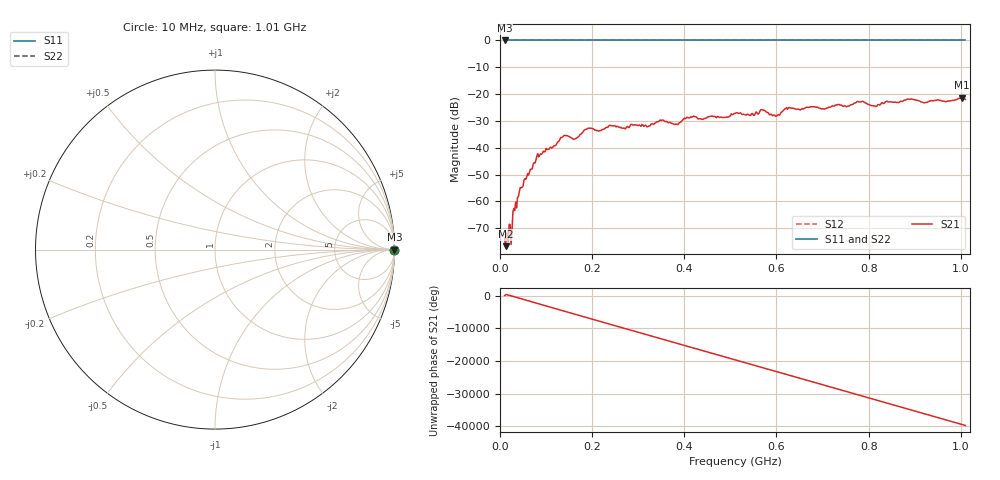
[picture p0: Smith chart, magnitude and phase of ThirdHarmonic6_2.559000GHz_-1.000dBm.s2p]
! 8/17/2025 5:17:03 AM
! C:\ANRITSUVNA\TEMP\TEMP.S2P
! CHANNEL.1
! TR.MEASUREMENT
! RAW.DATA
! RF.CORRECTION.OFF
! AVERAGING.OFF
! IF.BANDWIDTH: 5KHZ
! SWEEPTYPE:  FREQ.SWEEP(Linear)
! Reference Plane Port Info
! PORT:  PORT1  PORT2
! DISTANCE:  0  m  0  m
! TIME:  0  s  0  s
! PHASE.OFFSET:  0  deg.  0  deg.
! LOSS:  0  dB  0  dB
! REF.LOSS:  0  dB  0  dB
! REF.FREQ:  0  Hz  0  Hz
! Power Info
! POWER:  -20  dBm  -20  dBm
! EFF.POWER:  -20  dBm  -20  dBm
! SOURCE.ATTEN:  0  dB  0  dB
! TEST.ATTEN:  0  dB  0  dB
# GHZ S RI R 50.0
! FREQ.GHZ  S11RE  S11IM  S21RE  S21IM  S12RE  S12IM  S22RE  S22IM
!; PortSelection: Port_12
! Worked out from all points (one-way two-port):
!   501 points, 10 MHz to 1.01 GHz, reference 50 ohm
!   highest |S21| = -21.30 dB at 1.002 GHz (marker M1); lowest = -76.7 dB at 12 MHz (marker M2)
!   lowest |S11| = 0.0 dB at 10 MHz (marker M3)
!   |S11| at or under -10 dB: nowhere
!   |S22| runs from 0.0 to 0.0 dB; largest |S21 - S12| = 1.1
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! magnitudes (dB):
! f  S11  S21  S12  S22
! 10 MHz  0.0  -73.6  0.0  0.0
! 12 MHz  0.0  -76.7  0.0  0.0
! 18 MHz  0.0  -74.8  0.0  0.0
! 22 MHz  0.0  -68.6  0.0  0.0
! 32 MHz  0.0  -63.4  0.0  0.0
! 42 MHz  0.0  -56.3  0.0  0.0
! 82 MHz  0.0  -42.2  0.0  0.0
! 136 MHz  0.0  -36.0  0.0  0.0
! 162 MHz  0.0  -36.8  0.0  0.0
! 178 MHz  0.0  -34.5  0.0  0.0
! 322 MHz  0.0  -32.0  0.0  0.0
! 344 MHz  0.0  -30.2  0.0  0.0
! 382 MHz  0.0  -31.2  0.0  0.0
! 418 MHz  0.0  -28.5  0.0  0.0
! 510 MHz  0.0  -27.2  0.0  0.0
! 570 MHz  0.0  -25.9  0.0  0.0
! 602 MHz  0.0  -27.8  0.0  0.0
! 624 MHz  0.0  -25.6  0.0  0.0
! 678 MHz  0.0  -24.8  0.0  0.0
! 844 MHz  0.0  -23.0  0.0  0.0
! 1.002 GHz  0.0  -21.3  0.0  0.0
! 1.01 GHz  0.0  -22.0  0.0  0.0
